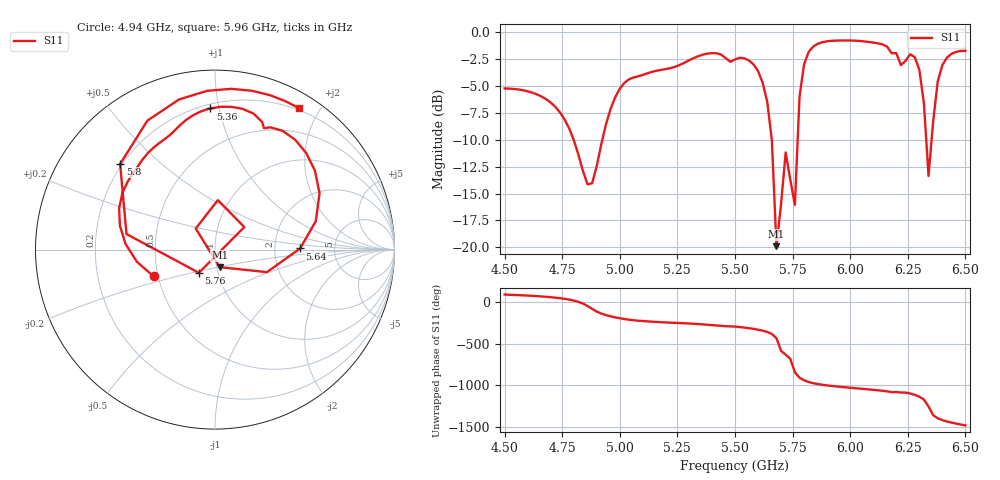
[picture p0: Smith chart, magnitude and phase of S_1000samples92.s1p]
! TOUCHSTONE file generated by CST MICROWAVE STUDIO
! Date and time: Wed Oct 26 23:33:05 2022
! Project name: L.cst
! Parameters = {Di=1.27; Epsilon_r=1.56; InnerDiameter=1.27; Length=2; Lf=10; Lg=60; OuterConductorThickness=0.2921; OuterDiameter=3.6; Wf=3; Wp=41.2; de=1.5; df=6.8; g=0.8; gx=0.729625; gy=0.436622; h=2.34; hf=1.524; px=13.7903; py=12.2243; w=9.7; wx=13.0606; wy=11.7877}
! Header version: 2018
! Port assignment regex: !\s*Touchstone port\s*([0-9]+)\s*=\s*(CST MWS port|CST DS port)\s*([0-9]+|Zmin|Zmax)\s*\(\"(.*)\"\)(\s*mode\s*([0-9]+))?.*
! Touchstone port assignment:
! Touchstone port 1 = CST MWS port 1 ("")
# GHz S DB R 50
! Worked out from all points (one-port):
!   101 points, 4.5 GHz to 6.5 GHz, reference 50 ohm
!   lowest |S11| = -19.9 dB at 5.68 GHz (marker M1), VSWR 1.23, Z = 51.7 - j10.2 ohm
!   |S11| at or under -10 dB: 4.8 GHz to 4.924 GHz (124.3 MHz wide, 2.56 % of centre); 5.66 GHz to 5.772 GHz (112.2 MHz wide, 1.96 % of centre); 6.330034 GHz to 6.353328 GHz (23.29 MHz wide, 0.367 % of centre)
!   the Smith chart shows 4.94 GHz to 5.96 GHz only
!   S11 on the Smith chart (normalised r, x): 4.94 GHz: 0.47, -0.16; 5.36 GHz: 0.23, +0.94; 5.64 GHz: 2.80, +0.05; 5.76 GHz: 0.81, -0.21; 5.8 GHz: 0.19, +0.37; 5.96 GHz: 0.18, +1.75
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4.5  -5.22 91.4
4.76  -8.09 39.7
4.86  -14.15 -46.5
4.94  -8.56 -156.4
5  -5.25 165.8
5.26  -3.04 108.0
5.36  -2.08 91.9
5.5  -2.52 65.7
5.6  -3.59 28.2
5.64  -6.48 0.8
5.66  -10.03 -23.5
5.68  -19.90 -75.0
5.72  -11.17 86.7
5.74  -13.73 37.6
5.76  -16.06 -124.8
5.78  -6.01 170.0
5.8  -2.95 137.9
5.86  -1.05 92.8
5.96  -0.76 59.1
6  -0.76 48.9
6.14  -1.13 12.4
6.26  -2.04 -20.2
6.3  -3.47 -58.4
6.32  -6.62 -93.3
6.34  -13.36 -177.2
6.36  -8.32 79.1
6.4  -3.06 18.6
6.5  -1.72 -45.2
